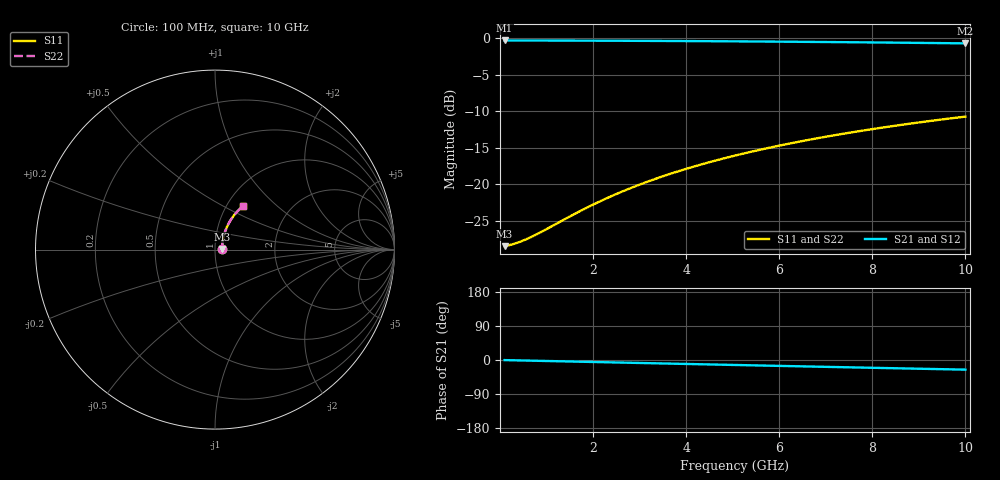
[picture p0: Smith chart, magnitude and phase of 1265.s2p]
# Hz S RI R 50.00
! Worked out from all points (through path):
!   100 points, 100 MHz to 10 GHz, reference 50 ohm
!   highest |S21| = -0.33 dB at 100 MHz (marker M1); lowest = -0.7 dB at 10 GHz (marker M2)
!   group delay of S21, straight-line fit = 7.08 ps
!   lowest |S11| = -28.5 dB at 100 MHz (marker M3), VSWR 1.08, Z = 53.9 + j0.313 ohm
!   |S11| at or under -10 dB: start of sweep to end of sweep
!   |S22| runs from -28.5 to -10.7 dB; largest |S21 - S12| = 0
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1e8  0.0376 0.0029  0.9624 -0.0044  0.9624 -0.0044  0.0376 0.0029
3e8  0.0381 0.00867  0.9619 -0.0132  0.9619 -0.0132  0.0381 0.00867
4e8  0.0384 0.0116  0.9616 -0.0176  0.9616 -0.0176  0.0384 0.0116
6e8  0.0388 0.0173  0.9611 -0.0264  0.9611 -0.0264  0.0388 0.0173
9e8  0.0397 0.026  0.9602 -0.0395  0.9602 -0.0395  0.0397 0.026
1.5e9  0.042 0.0431  0.9577 -0.0657  0.9577 -0.0657  0.042 0.0431
1.8e9  0.0434 0.0516  0.9562 -0.0787  0.9562 -0.0787  0.0434 0.0516
2.2e9  0.0457 0.0629  0.9537 -0.096  0.9537 -0.096  0.0457 0.0629
2.6e9  0.0483 0.0741  0.9508 -0.1132  0.9508 -0.1132  0.0483 0.0741
3e9  0.0514 0.0851  0.9475 -0.1303  0.9475 -0.1303  0.0514 0.0851
3.4e9  0.0548 0.096  0.9438 -0.1473  0.9438 -0.1473  0.0548 0.096
3.8e9  0.0586 0.1067  0.9397 -0.164  0.9397 -0.164  0.0586 0.1067
4.2e9  0.0628 0.1173  0.9351 -0.1807  0.9351 -0.1807  0.0628 0.1173
4.6e9  0.0673 0.1277  0.9302 -0.1971  0.9302 -0.1971  0.0673 0.1277
5.1e9  0.0735 0.1404  0.9235 -0.2174  0.9235 -0.2174  0.0735 0.1404
5.5e9  0.0788 0.1503  0.9176 -0.2333  0.9176 -0.2333  0.0788 0.1503
5.9e9  0.0844 0.16  0.9115 -0.2491  0.9115 -0.2491  0.0844 0.16
6.7e9  0.0966 0.1786  0.8981 -0.2798  0.8981 -0.2798  0.0966 0.1786
7.5e9  0.11 0.1961  0.8834 -0.3095  0.8834 -0.3095  0.11 0.1961
8.4e9  0.1263 0.2145  0.8654 -0.3416  0.8654 -0.3416  0.1263 0.2145
9.2e9  0.1417 0.2295  0.8482 -0.3689  0.8482 -0.3689  0.1417 0.2295
1e10  0.158 0.2433  0.8301 -0.3949  0.8301 -0.3949  0.158 0.2433
